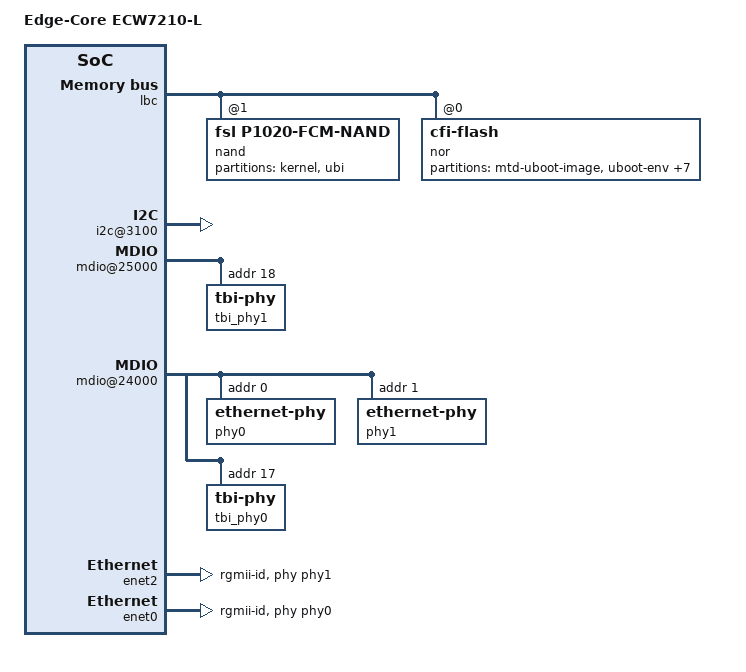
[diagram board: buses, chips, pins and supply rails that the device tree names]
// SPDX-License-Identifier: GPL-2.0-or-later OR MIT

/include/ "fsl/p1020si-pre.dtsi"
/ {
	model = "Edge-Core ECW7210-L";
	compatible = "edgecore,ecw7210-l";

	memory {
		device_type = "memory";
	};

	lbc: localbus@ffe05000 {
		reg = <0 0xffe05000 0 0x1000>;
		ranges = <0x0 0x0 0x0 0xee000000 0x2000000
			0x1 0x0 0x0 0xffa00000 0x0040000>;
		interrupts = <0x13 0x2>;
		#size-cells = <0x1>;
		#address-cells = <0x2>;
		bus-frequency = <24999999>;

		/* In the stock configuration, the NAND contains the kernels,
		* rootfses, and RW filesystem. We'll re-partition it here,
		* but without a backup copy of the OS, and we'll put the
		* rootfs in UBI.
		*/

		nand@1,0 {
			#address-cells = <0x1>;
			#size-cells = <0x1>;
			compatible = "fsl,p1020-fcm-nand", "fsl,elbc-fcm-nand";
			reg = <0x1 0x0 0x40000>;

			partition@0 {
				reg = <0x0 0x1000000>;
				label = "kernel";
			};

			partition@01000000 {
				reg = <0x1000000 0x1f000000>;
				label = "ubi";
			};
		};

		// It may be best to leave the NOR flash alone, contains U-boot
		nor@0,0 {
			device-width = <0x1>;
			bank-width = <0x2>;
			reg = <0x0 0x0 0x2000000>;
			compatible = "cfi-flash";
			#size-cells = <0x1>;
			#address-cells = <0x1>;

			partition@1f80000 {
				read-only;
				label = "mtd-uboot-image";
				reg = <0x1f80000 0x80000>;
			};

			partition@1f60000 {
				label = "uboot-env";
				reg = <0x1f60000 0x20000>;
			};

			partition@1f40000 {
				read-only;
				label = "u-env-backup";
				reg = <0x1f40000 0x20000>;
			};

			partition@1f20000 {
				read-only;
				label = "mtd-mfr";
				reg = <0x1f20000 0x20000>;
			};

			partition@1e20000 {
				read-only;
				label = "mtd-reserved";
				reg = <0x1e20000 0x100000>;
			};

			partition@1e00000 {
				read-only;
				label = "crashlog";
				reg = <0x1e00000 0x20000>;
			};

			partition@60000 {
				read-only;
				label = "mtd-unused";
				reg = <0x60000 0x1da0000>;
			};

			partition@20000 {
				read-only;
				label = "mtd-dtb";
				reg = <0x20000 0x40000>;
			};

			partition@0 {
				read-only;
				label = "mtd-u-script";
				reg = <0x0 0x20000>;
			};
		};
	};

	soc: soc@ffe00000 {
		ranges = <0x0 0x0 0xffe00000 0x100000>;

		i2c@3100 {
			status = "okay";
		};

		serial@4500 {
			clock-frequency = <399999996>;
		};

		pic@40000 {
			clock-frequency = <399999996>;
		};

		// We seem to need to have the tbi_phy's laid out this way for enet2 to work
		mdio@25000 {
			compatible = "fsl,etsec2-tbi";

			tbi_phy1: tbi-phy@12 {
				reg = <0x12>;
			};
		};

		mdio@24000 {
			compatible = "fsl,etsec2-mdio";

			phy0: ethernet-phy@0 {
				reg = <0x0>;
			};

			phy1: ethernet-phy@1 {
				reg = <0x1>;
			};

			tbi_phy0: tbi-phy@11 {
				reg = <0x11>;
			};
		};

		// Labeled on the case as Eth0/PoE+
		enet2: ethernet@b2000 {
			status = "okay";
			phy-connection-type = "rgmii-id";
			model = "eTSEC";
			phy-handle = <&phy1>;
			tbi-handle = <&tbi_phy1>;
		};

		// Labeled on the case as Eth1
		enet0: ethernet@b0000 {
			status = "okay";
			phy-connection-type = "rgmii-id";
			model = "eTSEC";
			phy-handle = <&phy0>;
			tbi-handle = <&tbi_phy0>;
		};

		enet1: ethernet@b1000 {
			status = "disabled";
		};

		usb@22000 {
			phy_type = "ulpi";
			dr_mode = "host";
		};

		usb@23000 {
			status = "disabled";
		};
	};

	// Various fixups for things like interrupts and frequencies. U-boot usually does this,
	// but it looks like the older u-boot doesn't like this newer device tree.
	pci0: pcie@ffe09000 {
		reg = <0x0 0xffe09000 0x0 0x1000>;
		ranges = <0x2000000 0x0 0xa0000000 0x0 0xa0000000 0x0 0x20000000
			0x1000000 0x0 0x00000000 0x0 0xffc30000 0x0 0x10000>;

		pcie@0 {
			ranges = <0x2000000 0x0 0xa0000000 0x2000000 0x0 0xa0000000 0x0
				0x20000000 0x1000000 0x0 0x0 0x1000000 0x0 0x0 0x0 0x100000>;
		};

	};

	pci1: pcie@ffe0a000 {
		reg = <0x0 0xffe0a000 0x0 0x1000>;
		ranges = <0x2000000 0x0 0xc0000000 0x0 0xc0000000 0x0 0x20000000
			0x1000000 0x0 0x00000000 0x0 0xffc20000 0x0 0x10000>;

		pcie@0 {
			ranges = <0x2000000 0x0 0xc0000000 0x2000000 0x0 0xc0000000 0x0
				0x20000000 0x1000000 0x0 0x0 0x1000000 0x0 0x0 0x0 0x100000>;
		};
	};

};

/include/ "fsl/p1020si-post.dtsi"
